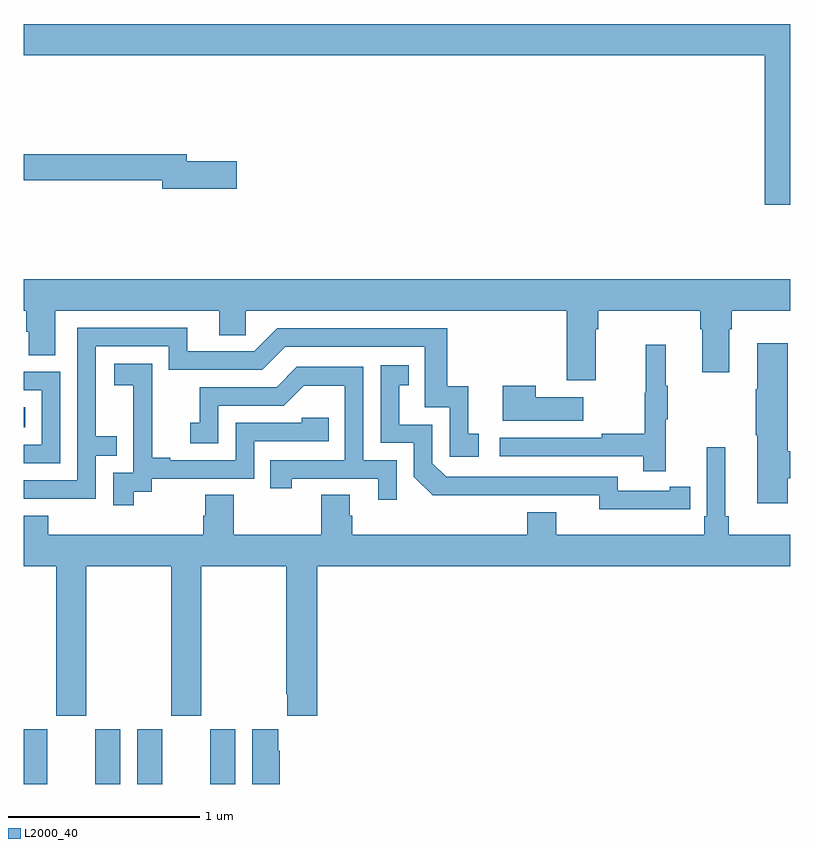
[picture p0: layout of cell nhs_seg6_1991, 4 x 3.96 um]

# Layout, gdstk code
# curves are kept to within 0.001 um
import gdstk
lib = gdstk.Library(unit=1e-6, precision=1e-09)
def R(c, l, rs):  # rectangles x0, y0, x1, y1
    for r in rs: c.add(gdstk.rectangle(r[:2], r[2:], *l))
def P(c, l, *ps):  # polygons
    for p in ps: c.add(gdstk.Polygon(p, *l))
L2000_40 = (2000, 40)

nhs_seg6_1991 = lib.new_cell('nhs_seg6_1991')
R(nhs_seg6_1991, L2000_40, [(229,979.5,229.123,979.786), (229.373,979.5,229.504,979.786), (229.592,979.5,229.723,979.786), (229.973,979.5,230.104,979.786), (229,981.362,229.01,981.466)])
P(nhs_seg6_1991, L2000_40, [(233,983.464),(229,983.464),(229,983.3),(232.865,983.3),(232.865,982.521),(233,982.521)],
  [(230.113,982.748),(229.852,982.748),(229.852,982.784),(229,982.784),(229,982.648),(229.724,982.648),(229.724,982.606),(230.113,982.606)],
  [(231.985,981.872),(231.998,981.872),(231.998,981.968),(232.529,981.968),(232.529,981.872),(232.541,981.872),(232.541,981.648),(232.681,981.648),(232.681,981.872),(232.694,981.872),(232.694,981.968),(233,981.968),(233,982.132),(229,982.132),(229,981.968),(229.013,981.968),(229.013,981.859),(229.026,981.859),(229.026,981.736),(229.165,981.736),(229.165,981.968),(230.021,981.968),(230.021,981.841),(230.16,981.841),(230.16,981.968),(231.833,981.968),(231.833,981.606),(231.985,981.606)],
  [(229.377,981.213),(229.487,981.213),(229.487,981.314),(229.377,981.314),(229.377,981.783),(229.758,981.783),(229.758,981.66),(230.244,981.66),(230.364,981.78),(231.093,981.78),(231.093,981.465),(231.222,981.465),(231.222,981.207),(231.373,981.207),(231.373,981.327),(231.32,981.327),(231.32,981.574),(231.209,981.574),(231.209,981.876),(230.322,981.876),(230.202,981.756),(229.855,981.756),(229.855,981.879),(229.281,981.879),(229.281,981.084),(229,981.084),(229,980.988),(229.377,980.988)],
  [(232.985,981.094),(233,981.094),(233,981.236),(232.985,981.236),(232.985,981.799),(232.826,981.799),(232.826,981.56),(232.819,981.56),(232.819,981.319),(232.826,981.319),(232.826,980.964),(232.985,980.964)],
  [(232.349,981.403),(232.36,981.403),(232.36,981.577),(232.349,981.577),(232.349,981.79),(232.246,981.79),(232.246,981.54),(232.239,981.54),(232.239,981.326),(232.015,981.326),(232.015,981.306),(231.483,981.306),(231.483,981.21),(232.231,981.21),(232.231,981.132),(232.349,981.132)],
  [(229.576,981.025),(229.668,981.025),(229.668,981.093),(230.202,981.093),(230.202,981.288),(230.591,981.288),(230.591,981.411),(230.451,981.411),(230.451,981.384),(230.106,981.384),(230.106,981.189),(229.765,981.189),(229.765,981.202),(229.67,981.202),(229.67,981.485),(229.671,981.485),(229.671,981.691),(229.473,981.691),(229.473,981.581),(229.571,981.581),(229.571,981.353),(229.572,981.353),(229.572,981.123),(229.467,981.123),(229.467,980.955),(229.576,980.955)],
  [(232.37,980.934),(232.478,980.934),(232.478,981.05),(232.37,981.05),(232.37,981.03),(232.098,981.03),(232.098,981.102),(231.204,981.102),(231.132,981.174),(231.132,981.375),(230.959,981.375),(230.959,981.579),(231.008,981.579),(231.008,981.685),(230.862,981.685),(230.862,981.279),(231.036,981.279),(231.036,981.102),(231.134,981.005),(232.002,981.006),(232.002,980.933)],
  [(230.946,981.189),(230.772,981.189),(230.772,981.675),(230.426,981.675),(230.321,981.57),(229.918,981.57),(229.918,981.385),(229.869,981.385),(229.869,981.276),(230.016,981.276),(230.016,981.474),(230.358,981.474),(230.462,981.578),(230.676,981.578),(230.676,981.189),(230.287,981.189),(230.287,981.042),(230.398,981.042),(230.398,981.093),(230.849,981.093),(230.849,980.982),(230.946,980.982)],
  [(229.191,981.651),(229,981.651),(229,981.555),(229.095,981.555),(229.095,981.27),(229,981.27),(229,981.174),(229.191,981.174)],
  [(231.919,981.517),(231.671,981.517),(231.671,981.577),(231.5,981.577),(231.5,981.395),(231.919,981.395)],
  [(229.326,980.636),(229.771,980.636),(229.771,979.857),(229.926,979.857),(229.926,980.636),(230.371,980.636),(230.371,979.969),(230.375,979.969),(230.375,979.857),(230.531,979.857),(230.531,980.636),(233,980.636),(233,980.8),(232.679,980.8),(232.679,980.896),(232.66,980.896),(232.66,981.256),(232.563,981.256),(232.563,980.896),(232.55,980.896),(232.55,980.8),(231.778,980.8),(231.778,980.917),(231.626,980.917),(231.626,980.8),(230.714,980.8),(230.714,980.898),(230.701,980.898),(230.701,981.008),(230.554,981.008),(230.554,980.8),(230.097,980.8),(230.097,981.008),(229.949,981.008),(229.949,980.898),(229.937,980.898),(229.937,980.8),(229.13,980.8),(229.13,980.899),(229,980.899),(229,980.636),(229.171,980.636),(229.171,979.857),(229.326,979.857)],
  [(230.336,979.673),(230.329,979.673),(230.329,979.786),(230.192,979.786),(230.192,979.5),(230.336,979.5)])

lib.write_gds('nhs_seg6_1991.gds')
